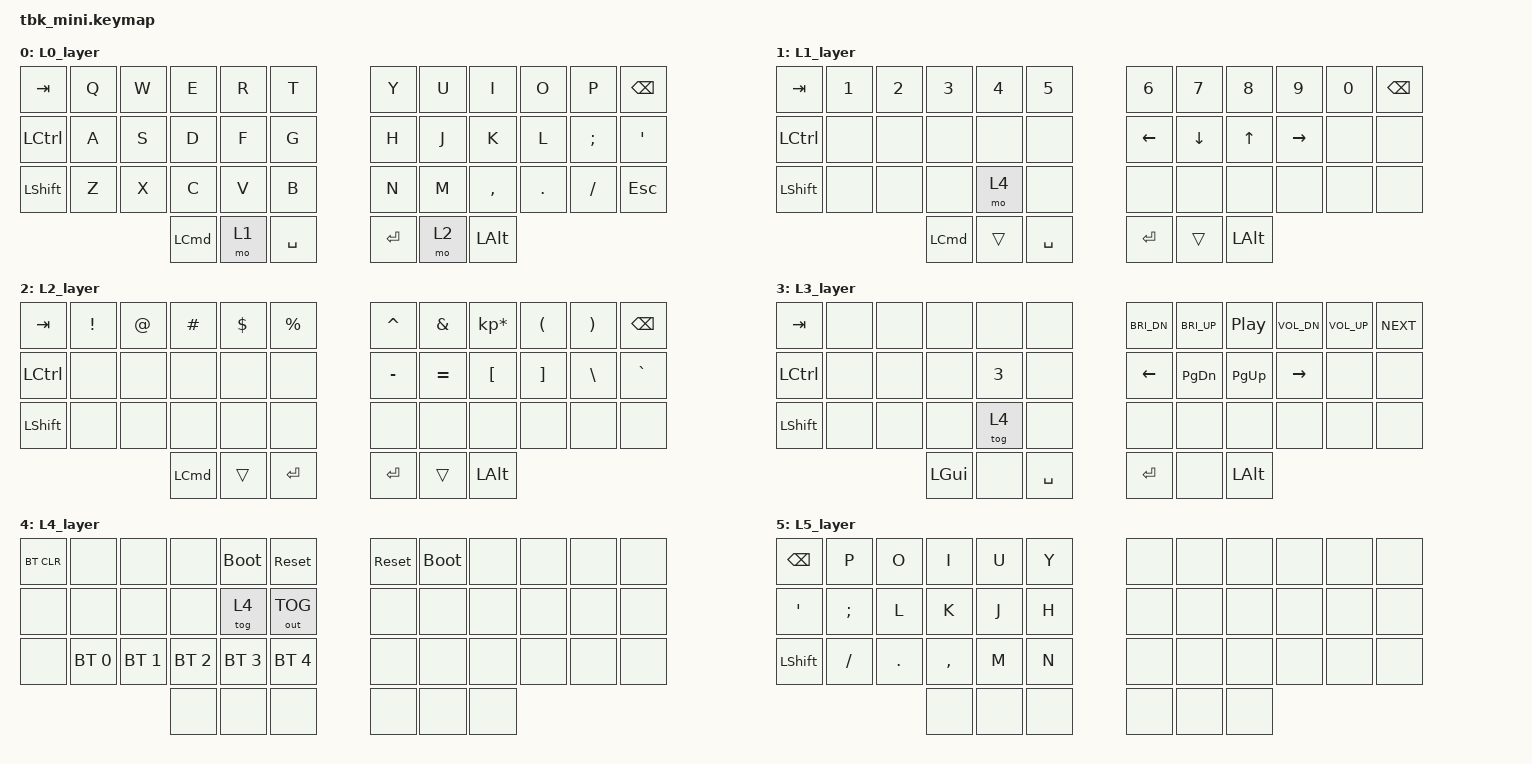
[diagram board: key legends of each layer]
// tbk_mini.keymap

#include <behaviors.dtsi>
#include <dt-bindings/zmk/keys.h>
#include <dt-bindings/zmk/bt.h>
#include <dt-bindings/zmk/outputs.h>



/ {
    conditional_layers {
        compatible = "zmk,conditional-layers";
        L3_layer {
            if-layers = <1 2>;
            then-layer = <3>;
        };
    };

    keymap {
        compatible = "zmk,keymap";

        L0_layer {
            bindings = <
                &kp TAB    &kp Q   &kp W   &kp E   &kp R   &kp T             &kp Y   &kp U  &kp I     &kp O   &kp P    &kp BSPC
                &kp LCTRL  &kp A   &kp S   &kp D   &kp F   &kp G             &kp H   &kp J  &kp K     &kp L   &kp SEMI &kp SQT
                &kp LSHFT  &kp Z   &kp X   &kp C   &kp V   &kp B             &kp N   &kp M  &kp COMMA &kp DOT &kp FSLH &kp ESC
                                  &kp LCMD  &mo 1     &kp SPACE           &kp RET &mo 2  &kp LALT
            >;
        };

        L1_layer {
            bindings = <
                &kp TAB   &kp N1 &kp N2   &kp N3    &kp N4   &kp N5            &kp N6    &kp N7    &kp N8   &kp N9     &kp N0    &kp BSPC
                &kp LCTRL &none  &none    &none     &none    &none             &kp LEFT  &kp DOWN  &kp UP   &kp RIGHT  &none     &none
                &kp LSHFT &none  &none    &none     &mo 4    &none             &none     &none     &none    &none      &none     &none
                                       &kp LCMD  &trans     &kp SPACE      &kp RET   &trans    &kp LALT
            >;
        };

        L2_layer {
            bindings = <
                &kp TAB    &kp EXCL &kp AT   &kp HASH  &kp DLLR  &kp PRCNT       &kp CARET &kp AMPS  &kp KP_MULTIPLY &kp LPAR &kp RPAR &kp BSPC
                &kp LCTRL  &none    &none    &none     &none     &none           &kp MINUS  &kp EQUAL  &kp LBKT  &kp RBKT  &kp BSLH   &kp GRAVE
                &kp LSHFT  &none    &none    &none     &none     &none           &none      &none      &none     &none     &none      &none
                                            &kp LCMD   &trans     &kp RET            &kp RET    &trans     &kp LALT
            >;
        };

       L3_layer {
            bindings = <
                &kp TAB   &none   &none    &none    &none       &none            &kp C_BRI_DN   &kp C_BRI_UP  &kp C_PP    &kp C_VOL_DN  &kp C_VOL_UP   &kp C_NEXT
                &kp LCTRL &none   &none    &none    &kp N3      &none            &kp LEFT       &kp PG_DN     &kp PG_UP   &kp RIGHT     &none          &none
                &kp LSHFT &none   &none    &none    &tog 4      &none            &none          &none         &none       &none         &none          &none
                                       &kp LGUI   &none    &kp SPACE             &kp RET      &none        &kp LALT
            >;
        };

        L4_layer {
            // -----------------------------------------------------------------------------------------
            // | BTCLR|BOOT |RESET|     |     | tog4|   |     |     |     |     |     |      |
            // |      |     |     |     |     | OUT |   |     |     |     |     |     |      |
            // |      | BT1 | BT2 | BT3 | BT4 | BT5 |   |     |     |     |     |     |      |
            //                    |     |     |     |   |     |     |     |
            bindings = <
                &bt BT_CLR  &none         &none         &none         &bootloader   &sys_reset          &sys_reset  &bootloader  &none  &none  &none  &none
                &none       &none         &none         &none         &tog 4        &out OUT_TOG        &none       &none        &none  &none  &none  &none
                &none       &bt BT_SEL 0  &bt BT_SEL 1  &bt BT_SEL 2  &bt BT_SEL 3  &bt BT_SEL 4        &none       &none        &none  &none  &none  &none
                                                        &none         &none         &none               &none       &none        &none
            >;
        };

        L5_layer {
            bindings = <
                &kp BSPC   &kp P    &kp O   &kp I     &kp U   &kp Y        &none   &none   &none   &none   &none   &none
                &kp SQT    &kp SEMI &kp L   &kp K     &kp J   &kp H        &none   &none   &none   &none   &none   &none
                &kp LSHFT  &kp FSLH &kp DOT &kp COMMA &kp M   &kp N        &none   &none   &none   &none   &none   &none
                                            &none     &none   &none        &none   &none   &none
            >;
        };
    };
};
